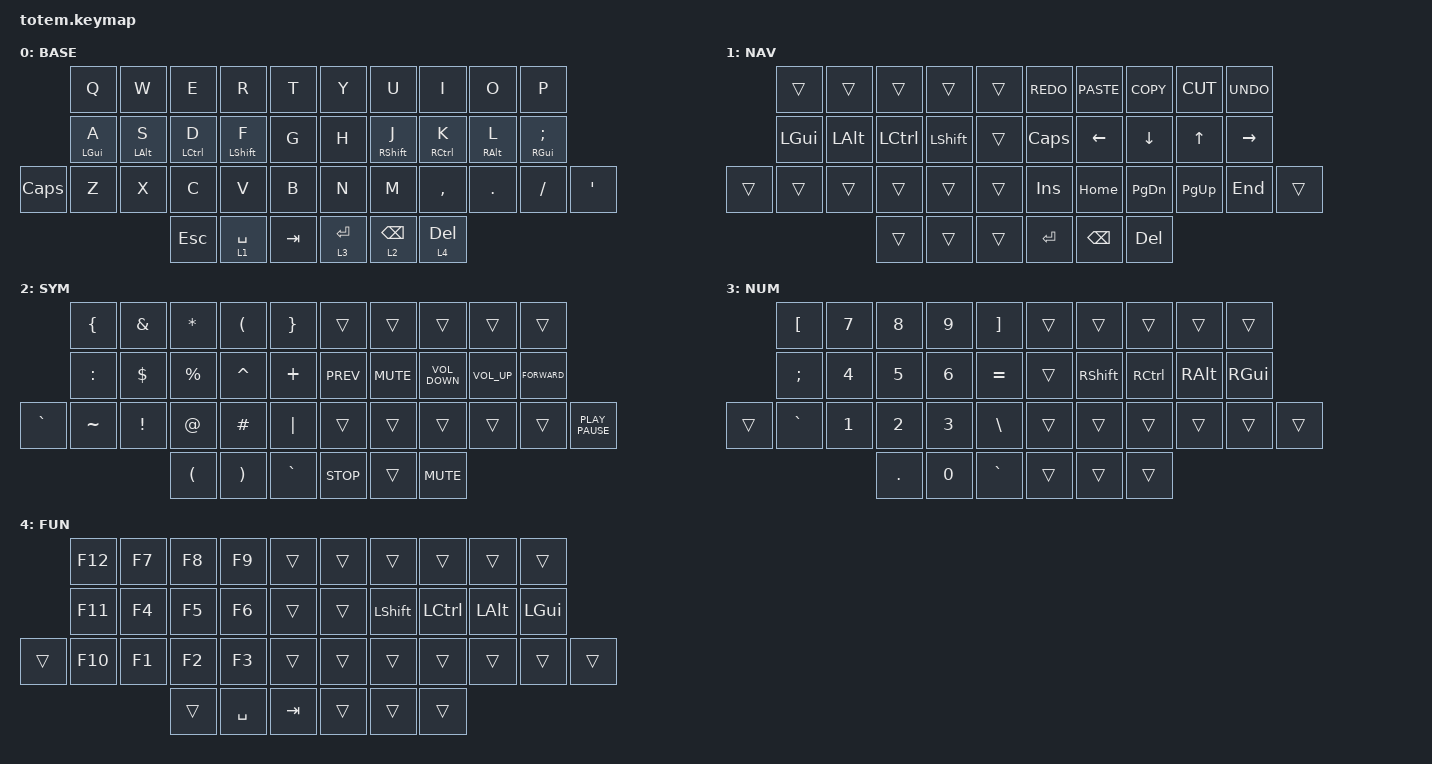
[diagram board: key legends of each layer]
#include <behaviors.dtsi>
#include <dt-bindings/zmk/keys.h>

#define BASE 0
#define NAV  1
#define NSL  2
#define ADJ  3

&mt {
    /* tapping-term-ms = <170>; */
    /* flavor = "hold-preferred"; */
    /* global-quick-tap; */

    tapping-term-ms = <180>;
    flavor = "balanced";
};

&lt {
    /* tapping-term-ms = <170>; */

    quick-tap-ms = <250>;

    /* flavor = "tap-preferred"; */
    /* global-quick-tap; */

    require-prior-idle-ms = <250>;
};

/ {
    behaviors {
        /*
        *
        */

        caps_tdr: caps_tap_dance_right {
            compatible = "zmk,behavior-tap-dance";
            #binding-cells = <0>;
            tapping-term-ms = <200>;

            /* bindings = <&smt RSHFT RALT>, <&caps_word>; */

            bindings = <&sk RALT>, <&caps_word>;
        };

        caps_tdl: caps_tap_dance_left {
            compatible = "zmk,behavior-tap-dance";
            #binding-cells = <0>;
            tapping-term-ms = <200>;
            bindings = <&none>, <&caps_word>;
        };

        /*   Custom mod-tap/layer-tap behavior.
        *   The main idea is to accomodate
        *   the one-shot (i.e. sticky) mods.
        */
        /*   Tapping the key invokes the Caps-Word
        *   behavior while holding it is used
        *   as a regular key press.
        *
        *   One thing to note here is that the second parameter
        *   is passed a dummy argument value (e.g. 0), per the 
        *   official documentation.
        */
        /*   CTRL -based behavior of what would normally be a plain SPACE.
        *   Implemented as nested mod-morphs. The main idea is that `space`
        *   and `comma` are among the most commonly typed characters; hence
        *   their optimized placement (again, not without some individual
        *   preferences).
        */
        /*   Quasi-Shift behavior for certain keys.
        *   In the traditional QWERTY layout/keyboard proper,
        *   pairs of non-alphanumeric symbols seem to be tightly coupled
        *   with one another via Shift Mod Key (e.g. / and ? ).
        *   In ZMK, there could actually be an easier way to decouple them,
        *   and, as such, this schema is also subject to revision.
        */
        /*
        *
        *
        */
    };

    macros {
        /*   Easier navigation macros.  */
    };

    /* ---------------------------------------------------------------------------------------------------------------------------------------------------- 
              ┏━━━━━━━━━━━┳━━━━━━━━━━━┳━━━━━━━━━━━┳━━━━━━━━━━━┳━━━━━━━━━━━┓   ┏━━━━━━━━━━━┳━━━━━━━━━━━┳━━━━━━━━━━━┳━━━━━━━━━━━┳━━━━━━━━━━━┓
              ┃     b     ┃     l     ┃     d     ┃     w     ┃    z      ┃   ┃     "     ┃     f     ┃     o     ┃     u     ┃     j     ┃
              ┣━━━━━━━━━━━╋━━━━━━━━━━━╋━━━━━━━━━━━╋━━━━━━━━━━━╋━━━━━━━━━━━┫   ┣━━━━━━━━━━━╋━━━━━━━━━━━╋━━━━━━━━━━━╋━━━━━━━━━━━╋━━━━━━━━━━━┫
              ┃     n     ┃     r     ┃     t     ┃     s     ┃    g      ┃   ┃     y     ┃     h     ┃     a     ┃     e     ┃     i     ┃
  ┏━━━━━━━━━━━╋━━━━━━━━━━━╋━━━━━━━━━━━╋━━━━━━━━━━━╋━━━━━━━━━━━╋━━━━━━━━━━━┫   ┣━━━━━━━━━━━╋━━━━━━━━━━━╋━━━━━━━━━━━╋━━━━━━━━━━━╋━━━━━━━━━━━╋━━━━━━━━━━━┓
  ┃           ┃     q     ┃     x     ┃     m     ┃     c     ┃    v      ┃   ┃     k     ┃     p     ┃   - (+)   ┃   . (>)   ┃  / (<)    ┃           ┃
  ┗━━━━━━━━━━━┻━━━━━━━━━━━┻━━━━━━━━━━━╋━━━━━━━━━━━╋━━━━━━━━━━━╋━━━━━━━━━━━┫   ┣━━━━━━━━━━━╋━━━━━━━━━━━╋━━━━━━━━━━━╋━━━━━━━━━━━┻━━━━━━━━━━━┻━━━━━━━━━━━┛
                                      ┃           ┃           ┃           ┃   ┃           ┃           ┃           ┃
                                      ┗━━━━━━━━━━━┻━━━━━━━━━━━┻━━━━━━━━━━━┛   ┗━━━━━━━━━━━┻━━━━━━━━━━━┻━━━━━━━━━━━┛
*/

    keymap {
        compatible = "zmk,keymap";

        base_layer {
            label = "BASE";
            bindings = <
          &kp Q           &kp W           &kp E        &kp R             &kp T      &kp Y        &kp U              &kp I        &kp O            &kp P
          &mt LEFT_GUI A  &mt LEFT_ALT S  &mt LCTRL D  &mt LEFT_SHIFT F  &kp G      &kp H        &mt RIGHT_SHIFT J  &mt RCTRL K  &mt RIGHT_ALT L  &mt RIGHT_GUI SEMICOLON
&kp CAPS  &kp Z           &kp X           &kp C        &kp V             &kp B      &kp N        &kp M              &kp COMMA    &kp PERIOD       &kp SLASH                &kp SQT
                                          &kp ESCAPE   &lt 1 SPACE       &kp TAB    &lt 3 ENTER  &lt 2 BACKSPACE    &lt 4 DEL
            >;
        };

        NAV_Layer {
            bindings = <
        &trans    &trans    &trans     &trans     &trans    &kp K_REDO  &kp K_PASTE  &kp K_COPY     &kp K_CUT    &kp K_UNDO
        &kp LGUI  &kp LALT  &kp LCTRL  &kp LSHFT  &trans    &kp CAPS    &kp LEFT     &kp DOWN       &kp UP       &kp RIGHT
&trans  &trans    &trans    &trans     &trans     &trans    &kp INS     &kp HOME     &kp PAGE_DOWN  &kp PAGE_UP  &kp END     &trans
                            &trans     &trans     &trans    &kp ENTER   &kp BSPC     &kp DELETE
            >;

            label = "NAV";
        };

        SYM_layer {
            label = "SYM";
            bindings = <
           &kp LEFT_BRACE  &kp AMPS         &kp ASTERISK          &kp LEFT_PARENTHESIS   &kp RIGHT_BRACE    &trans      &trans      &trans             &trans           &trans
           &kp COLON       &kp DOLLAR       &kp PERCENT           &kp CARET              &kp PLUS           &kp K_PREV  &kp K_MUTE  &kp C_VOLUME_DOWN  &kp C_VOLUME_UP  &kp K_FORWARD
&kp GRAVE  &kp TILDE       &kp EXCLAMATION  &kp AT_SIGN           &kp POUND              &kp PIPE           &trans      &trans      &trans             &trans           &trans         &kp K_PLAY_PAUSE
                                            &kp LEFT_PARENTHESIS  &kp RIGHT_PARENTHESIS  &kp GRAVE          &kp K_STOP  &trans      &kp K_MUTE
            >;
        };

        NUM_layer {
            bindings = <
        &kp LBKT   &kp N7  &kp N8   &kp N9  &kp RBKT     &trans  &trans     &trans     &trans    &trans
        &kp SEMI   &kp N4  &kp N5   &kp N6  &kp EQUAL    &trans  &kp RSHFT  &kp RCTRL  &kp RALT  &kp RGUI
&trans  &kp GRAVE  &kp N1  &kp N2   &kp N3  &kp BSLH     &trans  &trans     &trans     &trans    &trans    &trans
                           &kp DOT  &kp N0  &kp GRAVE    &trans  &trans     &trans
            >;

            label = "NUM";
        };

        fun_layer {
            bindings = <
        &kp F12  &kp F7  &kp F8  &kp F9     &trans     &trans  &trans     &trans     &trans    &trans
        &kp F11  &kp F4  &kp F5  &kp F6     &trans     &trans  &kp LSHFT  &kp LCTRL  &kp LALT  &kp LGUI
&trans  &kp F10  &kp F1  &kp F2  &kp F3     &trans     &trans  &trans     &trans     &trans    &trans    &trans
                         &trans  &kp SPACE  &kp TAB    &trans  &trans     &trans
            >;

            label = "FUN";
        };
    };
};
